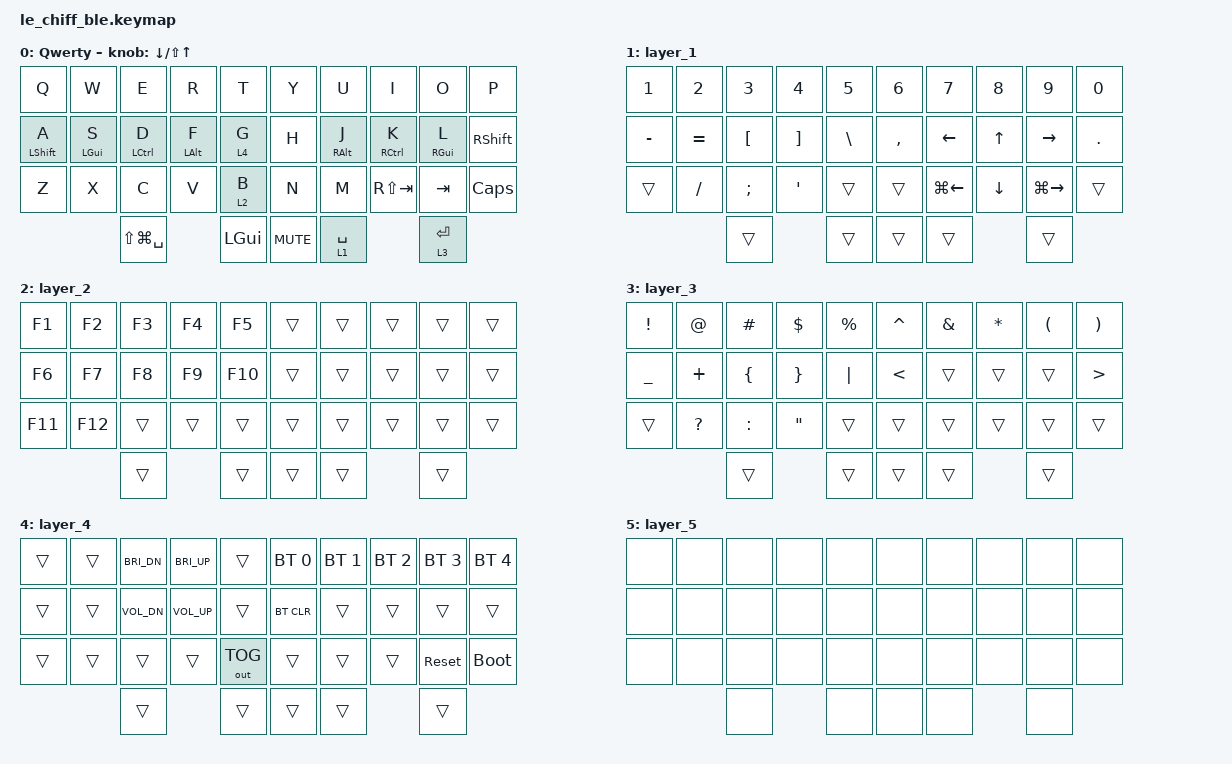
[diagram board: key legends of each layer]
/*
 * Copyright (c) 2021 @MangoIV
 *
 * SPDX-License-Identifier: MIT
 */

#include <behaviors.dtsi>
#include <dt-bindings/zmk/bt.h>
#include <dt-bindings/zmk/keys.h>
#include <dt-bindings/zmk/outputs.h>

// makes it possible to hold backspace

&lt {
    quick_tap_ms = <150>;
    quick-tap-ms = <150>;
};

/ {
    combos {
        compatible = "zmk,combos";

        esc {
            bindings = <&kp ESCAPE>;
            key-positions = <1 2>;
        };

        tilde {
            bindings = <&kp TILDE>;
            key-positions = <0 1 2>;
        };

        grave {
            bindings = <&kp GRAVE>;
            key-positions = <0 1>;
        };

        locklayer {
            bindings = <&tog 5>;
            key-positions = <0 1 2 3>;
        };

        bspc {
            bindings = <&kp BSPC>;
            key-positions = <16 17>;
        };

        caps {
            bindings = <&kp CAPS>;
            key-positions = <7 8>;
        };
    };

    behaviors {
        hm: homerow_mods {
            compatible = "zmk,behavior-hold-tap";
            label = "homerow_mods";
            bindings = <&kp>, <&kp>;

            #binding-cells = <2>;
            flavor = "tap-preferred";
            tapping-term-ms = <300>;
            quick-tap-ms = <250>;
        };
    };

    keymap {
        compatible = "zmk,keymap";

        default {
            label = "Qwerty";
            bindings = <
&kp Q             &kp W           &kp E              &kp R           &kp T         &kp Y       &kp U            &kp I        &kp O            &kp P
&hm LEFT_SHIFT A  &hm LEFT_GUI S  &hm LCTRL D        &hm LEFT_ALT F  &lt 4 G       &kp H       &hm RIGHT_ALT J  &hm RCTRL K  &hm RIGHT_GUI L  &kp RIGHT_SHIFT
&kp Z             &kp X           &kp C              &kp V           &lt 2 B       &kp N       &kp M            &kp RS(TAB)  &kp TAB          &kp CAPS
                                  &kp LS(LG(SPACE))                  &kp LEFT_GUI  &kp C_MUTE  &lt 1 SPACE                   &lt 3 ENTER
            >;

            sensor-bindings = <&inc_dec_kp DOWN LS(UP)>;
        };

        layer_1 {
            bindings = <
&kp NUMBER_1  &kp NUMBER_2  &kp NUMBER_3  &kp NUMBER_4  &kp N5         &kp NUMBER_6  &kp N7          &kp N8        &kp N9         &kp N0
&kp MINUS     &kp EQUAL     &kp LBKT      &kp RBKT      &kp BACKSLASH  &kp COMMA     &kp LEFT_ARROW  &kp UP_ARROW  &kp RIGHT      &kp DOT
&trans        &kp FSLH      &kp SEMI      &kp SQT       &trans         &trans        &kp LG(LEFT)    &kp DOWN      &kp LG(RIGHT)  &trans
                            &trans                      &trans         &trans        &trans                        &trans
            >;
        };

        layer_2 {
            bindings = <
&kp F1   &kp F2   &kp F3  &kp F4  &kp F5   &trans  &trans  &trans  &trans  &trans
&kp F6   &kp F7   &kp F8  &kp F9  &kp F10  &trans  &trans  &trans  &trans  &trans
&kp F11  &kp F12  &trans  &trans  &trans   &trans  &trans  &trans  &trans  &trans
                  &trans          &trans   &trans  &trans          &trans
            >;
        };

        layer_3 {
            bindings = <
&kp EXCL   &kp AT     &kp HASH   &kp DLLR  &kp PRCNT  &kp CARET  &kp AMPS  &kp STAR  &kp LPAR  &kp RPAR
&kp UNDER  &kp PLUS   &kp LBRC   &kp RBRC  &kp PIPE   &kp LT     &trans    &trans    &trans    &kp GT
&trans     &kp QMARK  &kp COLON  &kp DQT   &trans     &trans     &trans    &trans    &trans    &trans
                      &trans               &trans     &trans     &trans              &trans
            >;
        };

        layer_4 {
            bindings = <
&trans  &trans  &kp C_BRI_DN  &kp C_BRI_UP  &trans        &bt BT_SEL 0  &bt BT_SEL 1  &bt BT_SEL 2  &bt BT_SEL 3  &bt BT_SEL 4
&trans  &trans  &kp C_VOL_DN  &kp C_VOL_UP  &trans        &bt BT_CLR    &trans        &trans        &trans        &trans
&trans  &trans  &trans        &trans        &out OUT_TOG  &trans        &trans        &trans        &sys_reset    &bootloader
                &trans                      &trans        &trans        &trans                      &trans
            >;
        };

        layer_5 {
            bindings = <
&none  &none  &none  &none  &none  &none  &none  &none  &none  &none
&none  &none  &none  &none  &none  &none  &none  &none  &none  &none
&none  &none  &none  &none  &none  &none  &none  &none  &none  &none
              &none         &none  &none  &none         &none
            >;
        };
    };
};
